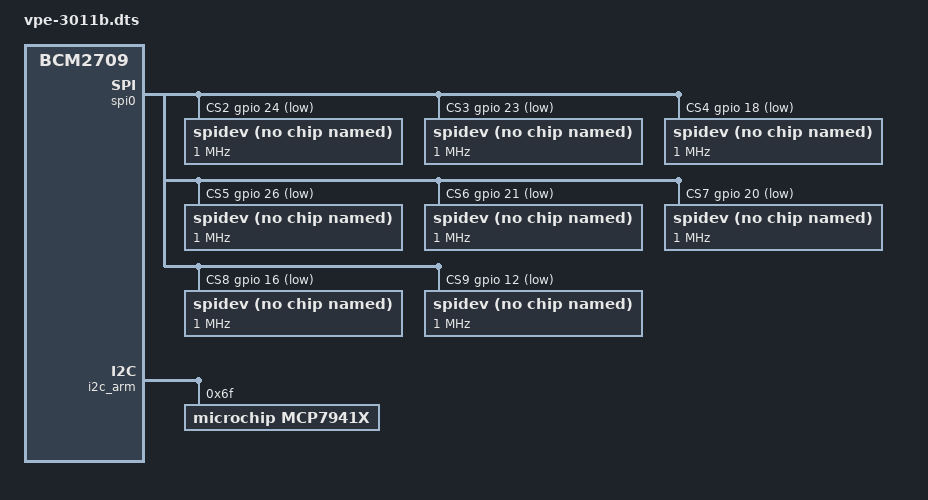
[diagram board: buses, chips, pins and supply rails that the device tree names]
/dts-v1/;
/plugin/;

/ {
	compatible = "brcm,bcm2835", "brcm,bcm2836", "brcm,bcm2708", "brcm,bcm2709";

	fragment@0 {
		target = <&spi0>;
		frag0: __overlay__ {
			#address-cells = <1>;
			#size-cells = <0>;
			status = "okay";
			cs-gpios = 
				<&gpio 8 1>,		/* CE0 */ 
				<&gpio 7 1>,		/* CE1 */
				<&gpio 24 1>,		/* CE2 */
				<&gpio 23 1>,		/* CE3 */
				<&gpio 18 1>,		/* CE4 */
				<&gpio 26 1>,		/* CE_8DI */
				<&gpio 21 1>,		/* CE_SDAFE1 */
				<&gpio 20 1>, 	/* CE_SDAFE2 */
				<&gpio 16 1>,		/* CE_SDAFE3 */
				<&gpio 12 1>;		/* CE_SDAFE4 */

			spidev@2{
				compatible = "spidev";
				reg = <2>;	/* CE2 */
				#address-cells = <1>;
				#size-cells = <0>;
				spi-max-frequency = <1000000>;
			};

			spidev@3{
				compatible = "spidev";
				reg = <3>;	/* CE3 */
				#address-cells = <1>;
				#size-cells = <0>;
				spi-max-frequency = <1000000>;
			};

			spidev@4{
				compatible = "spidev";
				reg = <4>;	/* CE4 */
				#address-cells = <1>;
				#size-cells = <0>;
				spi-max-frequency = <1000000>;
			};

			spidev@5{
				compatible = "spidev";
				reg = <5>;	/* CE_8DI */
				#address-cells = <1>;
				#size-cells = <0>;
				spi-max-frequency = <1000000>;
			};

			spidev@6{
				compatible = "spidev";
				reg = <6>;	/* CE_SDAFE1 */
				#address-cells = <1>;
				#size-cells = <0>;
				spi-max-frequency = <1000000>;
			};

			spidev@7{
				compatible = "spidev";
				reg = <7>;	/* CE_SDAFE2 */
				#address-cells = <1>;
				#size-cells = <0>;
				spi-max-frequency = <1000000>;
			};

			spidev@8{
				compatible = "spidev";
				reg = <8>;	/* CE_SDAFE3 */
				#address-cells = <1>;
				#size-cells = <0>;
				spi-max-frequency = <1000000>;
			};

			spidev@9{
				compatible = "spidev";
				reg = <9>;	/* CE_SDAFE4 */
				#address-cells = <1>;
				#size-cells = <0>;
				spi-max-frequency = <1000000>;
			};
		};
	};

	fragment@1 {
		target = <&spi0_cs_pins>;
		frag1: __overlay__ {
			brcm,pins = <8 7 12 16 18 20 21 23 24 26>;
		};
	};

	fragment@2 {
		target = <&i2c_arm>;
		__overlay__ {
			#address-cells = <1>;
			#size-cells = <0>;
			status = "okay";

			mcp7941x: mcp7941x@6f {
				compatible = "microchip,mcp7941x";
				reg = <0x6f>;
				status = "okay";
			};
		};
	};
};
